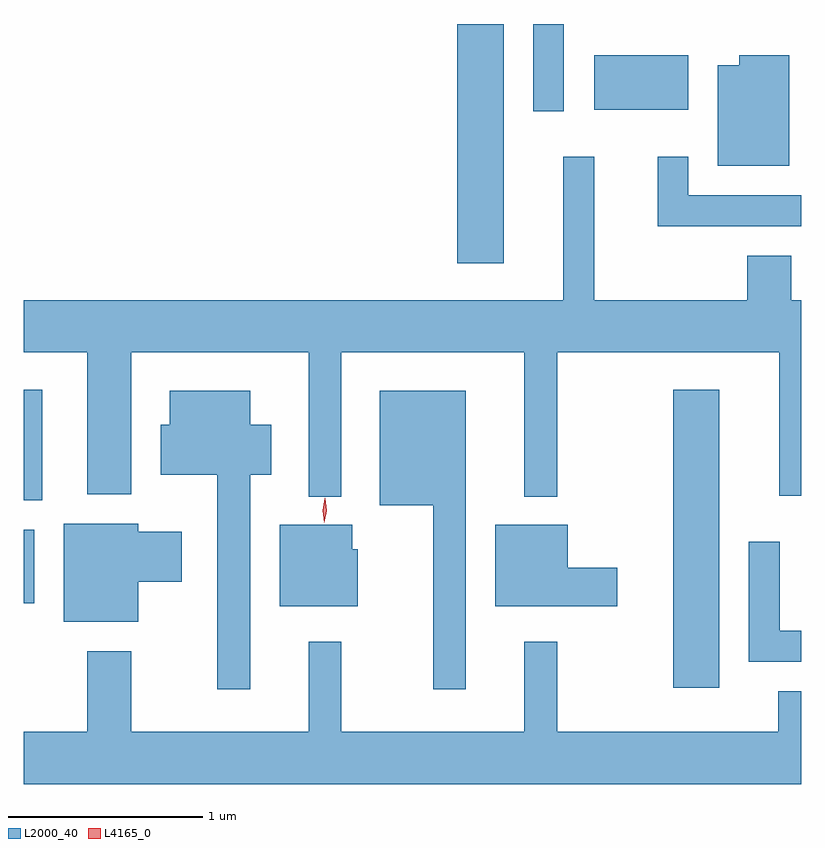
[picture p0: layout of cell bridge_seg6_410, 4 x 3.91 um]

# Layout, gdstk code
import gdstk
lib = gdstk.Library(unit=1e-6, precision=1e-09)
def R(c, l, rs):  # rectangles x0, y0, x1, y1
    for r in rs: c.add(gdstk.rectangle(r[:2], r[2:], *l))
def P(c, l, *ps):  # polygons
    for p in ps: c.add(gdstk.Polygon(p, *l))
L2000_40 = (2000, 40)
L4165_0 = (4165, 0)

bridge_seg6_410 = lib.new_cell('bridge_seg6_410')
R(bridge_seg6_410, L2000_40, [(910.526,1601.591,910.764,1603.124), (907.185,1602.026,907.239,1602.404), (907.185,1602.556,907.279,1603.124), (909.416,1603.776,909.654,1605.006), (909.806,1604.558,909.964,1605.006), (910.121,1604.566,910.604,1604.844)])
P(bridge_seg6_410, L2000_40, [(911.124,1604.844),(910.866,1604.844),(910.866,1604.794),(910.756,1604.794),(910.756,1604.276),(911.124,1604.276)],
  [(908.819,1603.316),(909.761,1603.316),(909.761,1602.573),(909.929,1602.573),(909.929,1603.316),(911.071,1603.316),(911.071,1602.578),(911.185,1602.578),(911.185,1603.584),(911.134,1603.584),(911.134,1603.814),(910.906,1603.814),(910.906,1603.584),(910.119,1603.584),(910.119,1604.323),(909.961,1604.323),(909.961,1603.584),(907.185,1603.584),(907.185,1603.316),(907.511,1603.316),(907.511,1602.586),(907.739,1602.586),(907.739,1603.316),(908.651,1603.316),(908.651,1602.573),(908.819,1602.573)],
  [(911.185,1604.124),(910.604,1604.124),(910.604,1604.323),(910.446,1604.323),(910.446,1603.966),(911.185,1603.966)],
  [(908.349,1602.686),(908.459,1602.686),(908.459,1602.944),(908.349,1602.944),(908.349,1603.119),(907.936,1603.119),(907.936,1602.944),(907.891,1602.944),(907.891,1602.686),(908.181,1602.686),(908.181,1601.583),(908.349,1601.583)],
  [(909.459,1603.119),(909.016,1603.119),(909.016,1602.531),(909.291,1602.531),(909.291,1601.583),(909.459,1601.583)],
  [(907.774,1602.136),(907.999,1602.136),(907.999,1602.394),(907.774,1602.394),(907.774,1602.434),(907.391,1602.434),(907.391,1601.931),(907.774,1601.931)],
  [(908.904,1602.304),(908.874,1602.304),(908.874,1602.429),(908.501,1602.429),(908.501,1602.011),(908.904,1602.011)],
  [(910.239,1602.209),(909.984,1602.209),(909.984,1602.429),(909.611,1602.429),(909.611,1602.011),(910.239,1602.011)],
  [(911.185,1601.884),(911.074,1601.884),(911.074,1602.343),(910.916,1602.343),(910.916,1601.726),(911.185,1601.726)],
  [(911.185,1601.574),(911.066,1601.574),(911.066,1601.364),(909.929,1601.364),(909.929,1601.828),(909.761,1601.828),(909.761,1601.364),(908.819,1601.364),(908.819,1601.828),(908.651,1601.828),(908.651,1601.364),(907.739,1601.364),(907.739,1601.779),(907.511,1601.779),(907.511,1601.364),(907.185,1601.364),(907.185,1601.096),(911.185,1601.096)])
P(bridge_seg6_410, L4165_0, [(908.731,1602.439),(908.731,1602.44),(908.723,1602.503),(908.734,1602.567),(908.734,1602.567),(908.735,1602.567),(908.743,1602.503),(908.732,1602.44)])

lib.write_gds('bridge_seg6_410.gds')
